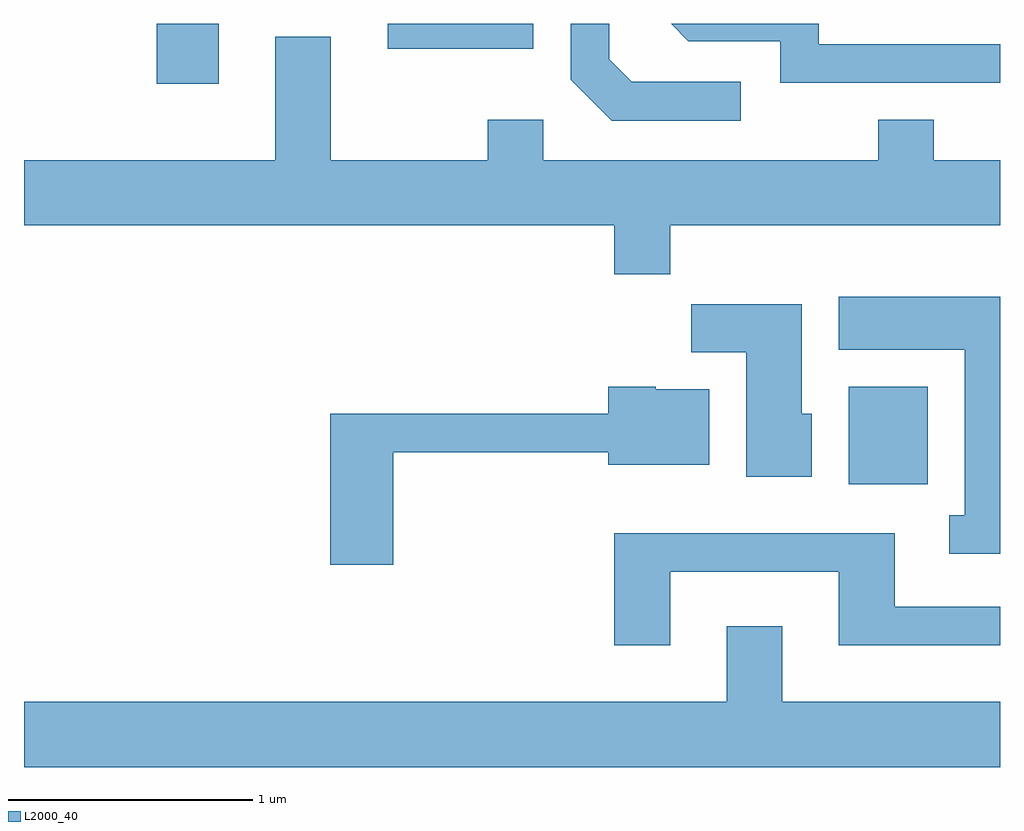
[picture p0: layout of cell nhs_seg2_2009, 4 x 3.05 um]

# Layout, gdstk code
import gdstk
lib = gdstk.Library(unit=1e-6, precision=1e-09)
def R(c, l, rs):  # rectangles x0, y0, x1, y1
    for r in rs: c.add(gdstk.rectangle(r[:2], r[2:], *l))
def P(c, l, *ps):  # polygons
    for p in ps: c.add(gdstk.Polygon(p, *l))
L2000_40 = (2000, 40)

nhs_seg2_2009 = lib.new_cell('nhs_seg2_2009')
R(nhs_seg2_2009, L2000_40, [(246.991,1053.916,247.314,1054.314), (244.156,1055.556,244.409,1055.802), (245.101,1055.701,245.699,1055.802)])
P(nhs_seg2_2009, L2000_40, [(246.548,1055.564),(246.102,1055.564),(246.009,1055.657),(246.009,1055.802),(245.851,1055.802),(245.851,1055.574),(246.019,1055.406),(246.548,1055.406)],
  [(247.611,1055.719),(246.869,1055.719),(246.869,1055.802),(246.263,1055.802),(246.334,1055.731),(246.711,1055.731),(246.711,1055.561),(247.611,1055.561)],
  [(246.259,1054.976),(247.611,1054.976),(247.611,1055.244),(247.339,1055.244),(247.339,1055.409),(247.111,1055.409),(247.111,1055.244),(245.739,1055.244),(245.739,1055.409),(245.511,1055.409),(245.511,1055.244),(244.869,1055.244),(244.869,1055.749),(244.641,1055.749),(244.641,1055.244),(243.611,1055.244),(243.611,1054.976),(246.031,1054.976),(246.031,1054.776),(246.259,1054.776)],
  [(247.611,1054.684),(246.951,1054.684),(246.951,1054.466),(247.466,1054.466),(247.466,1053.789),(247.403,1053.789),(247.403,1053.631),(247.611,1053.631)],
  [(246.839,1054.204),(246.799,1054.204),(246.799,1054.654),(246.346,1054.654),(246.346,1054.456),(246.571,1054.456),(246.571,1053.946),(246.839,1053.946)],
  [(245.124,1054.046),(246.006,1054.046),(246.006,1053.996),(246.419,1053.996),(246.419,1054.304),(246.2,1054.304),(246.2,1054.314),(246.006,1054.314),(246.006,1054.204),(244.866,1054.204),(244.866,1053.586),(245.124,1053.586)],
  [(246.259,1053.556),(246.951,1053.556),(246.951,1053.256),(247.611,1053.256),(247.611,1053.414),(247.179,1053.414),(247.179,1053.714),(246.031,1053.714),(246.031,1053.256),(246.259,1053.256)],
  [(247.611,1053.024),(246.719,1053.024),(246.719,1053.334),(246.491,1053.334),(246.491,1053.024),(243.611,1053.024),(243.611,1052.756),(247.611,1052.756)])

lib.write_gds('nhs_seg2_2009.gds')
